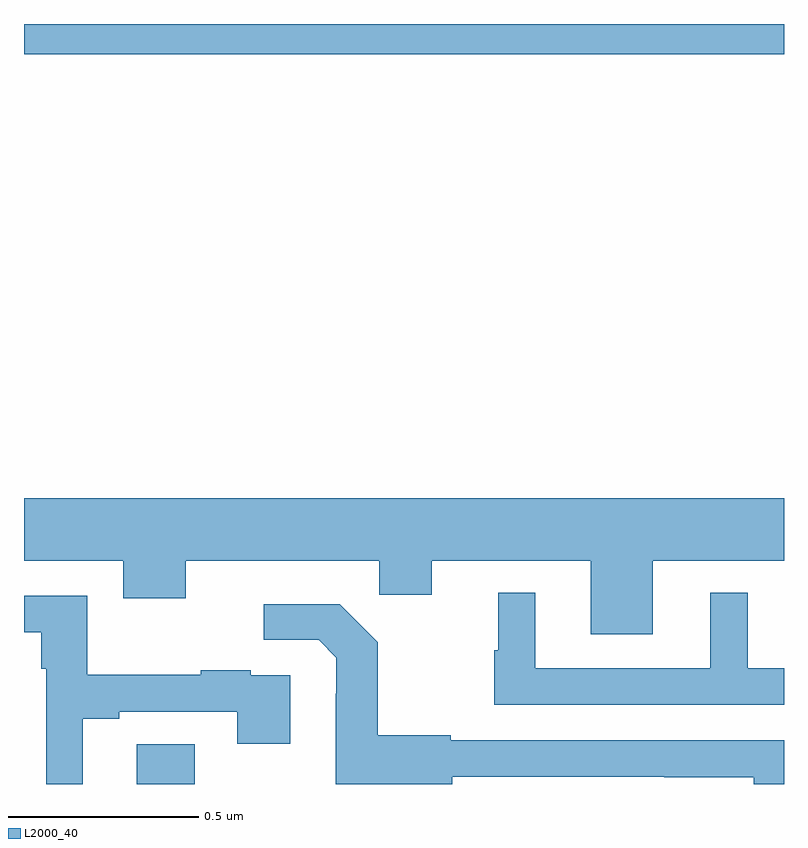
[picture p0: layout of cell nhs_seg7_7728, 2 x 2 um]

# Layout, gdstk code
import gdstk
lib = gdstk.Library(unit=1e-6, precision=1e-09)
def R(c, l, rs):  # rectangles x0, y0, x1, y1
    for r in rs: c.add(gdstk.rectangle(r[:2], r[2:], *l))
def P(c, l, *ps):  # polygons
    for p in ps: c.add(gdstk.Polygon(p, *l))
L2000_40 = (2000, 40)

nhs_seg7_7728 = lib.new_cell('nhs_seg7_7728')
R(nhs_seg7_7728, L2000_40, [(215.297,1028,215.449,1028.105), (215,1029.92,217,1030)])
P(nhs_seg7_7728, L2000_40, [(216.655,1028.588),(217,1028.588),(217,1028.752),(215,1028.752),(215,1028.588),(215.261,1028.588),(215.261,1028.489),(215.425,1028.489),(215.425,1028.588),(215.935,1028.588),(215.935,1028.498),(216.073,1028.498),(216.073,1028.588),(216.491,1028.588),(216.491,1028.394),(216.655,1028.394)],
  [(217,1028.304),(216.904,1028.304),(216.904,1028.503),(216.806,1028.503),(216.806,1028.304),(216.346,1028.304),(216.346,1028.503),(216.248,1028.503),(216.248,1028.352),(216.237,1028.352),(216.237,1028.208),(217,1028.208)],
  [(215.155,1028.172),(215.251,1028.172),(215.251,1028.19),(215.561,1028.19),(215.561,1028.106),(215.701,1028.106),(215.701,1028.286),(215.597,1028.286),(215.597,1028.299),(215.465,1028.299),(215.465,1028.288),(215.167,1028.288),(215.167,1028.496),(215,1028.496),(215,1028.399),(215.046,1028.399),(215.046,1028.303),(215.058,1028.303),(215.058,1028),(215.155,1028)],
  [(216.127,1028.019),(216.685,1028.019),(216.685,1028.018),(216.921,1028.018),(216.921,1028),(217,1028),(217,1028.115),(216.123,1028.115),(216.123,1028.128),(215.931,1028.128),(215.931,1028.373),(215.831,1028.473),(215.631,1028.473),(215.631,1028.379),(215.775,1028.379),(215.822,1028.332),(215.822,1028.237),(215.82,1028.237),(215.82,1028),(216.127,1028)])

lib.write_gds('nhs_seg7_7728.gds')
